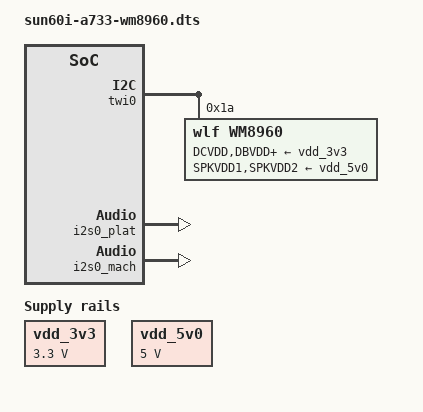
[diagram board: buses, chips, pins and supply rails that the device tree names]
/dts-v1/;
/plugin/;

/ {
	/* Fixed regulators needed by WM8960 */
	fragment@0 {
		target-path = "/";
		__overlay__ {
			vdd_3v3: regulator-3v3 {
				compatible = "regulator-fixed";
				regulator-name = "vdd-3v3";
				regulator-min-microvolt = <3300000>;
				regulator-max-microvolt = <3300000>;
				regulator-always-on;
			};

			vdd_5v0: regulator-5v0 {
				compatible = "regulator-fixed";
				regulator-name = "vdd-5v0";
				regulator-min-microvolt = <5000000>;
				regulator-max-microvolt = <5000000>;
				regulator-always-on;
			};
		};
	};

	/* WM8960 on TWI0 / I2C-0 */
	fragment@1 {
		target = <&twi0>;
		__overlay__ {
			#address-cells = <1>;
			#size-cells = <0>;
			status = "okay";

			wm8960: wm8960@1a {
				compatible = "wlf,wm8960";
				reg = <0x1a>;
				#sound-dai-cells = <0>;
				DCVDD-supply  = <&vdd_3v3>;
				DBVDD-supply  = <&vdd_3v3>;
				AVDD-supply   = <&vdd_3v3>;
				SPKVDD1-supply = <&vdd_5v0>;
				SPKVDD2-supply = <&vdd_5v0>;
			};
		};
	};

	/* Enable I2S0 platform */
	fragment@2 {
		target = <&i2s0_plat>;
		__overlay__ { status = "okay"; };
	};

	/* Reconfigure i2s0_mach for WM8960 */
	fragment@3 {
		target = <&i2s0_mach>;
		__overlay__ {
			status = "okay";
			soundcard-mach,name = "snd-wm8960";
			soundcard-mach,format = "i2s";
			soundcard-mach,slot-num = <2>;
			soundcard-mach,slot-width = <32>;
			/* Disable jack detection (base DTB has jack-support=4 for ac101) */
			soundcard-mach,jack-support = <0>;
			/* Allwinner I2S0 is clock master */
			soundcard-mach,frame-master    = <&i2s0_cpu>;
			soundcard-mach,bitclock-master = <&i2s0_cpu>;
			soundcard-mach,widgets =
				"Headphone", "Headphone Jack",
				"Speaker",   "Speaker",
				"Microphone","Mic Jack";
			soundcard-mach,routing =
				"Headphone Jack", "HP_L",
				"Headphone Jack", "HP_R",
				"Speaker",        "SPK_LP",
				"Speaker",        "SPK_LN",
				"LINPUT1",        "Mic Jack",
				"RINPUT1",        "Mic Jack";
		};
	};

	/* CPU subnode: PLL and MCLK clock config
	 * cpu_pll_clk = freq_point(24576000) * pll-fs(1) = 24.576 MHz
	 * mclk = mclk-fp[1](12288000) * mclk-fs(2) = 24.576 MHz
	 */
	fragment@4 {
		target = <&i2s0_cpu>;
		__overlay__ {
			soundcard-mach,pll-fs  = <1>;
			soundcard-mach,mclk-fs = <2>;
			soundcard-mach,mclk-fp = <11289600 12288000>;
		};
	};

	/* Redirect codec to WM8960 */
	fragment@5 {
		target = <&i2s0_codec>;
		__overlay__ {
			sound-dai = <&wm8960>;
		};
	};
};
